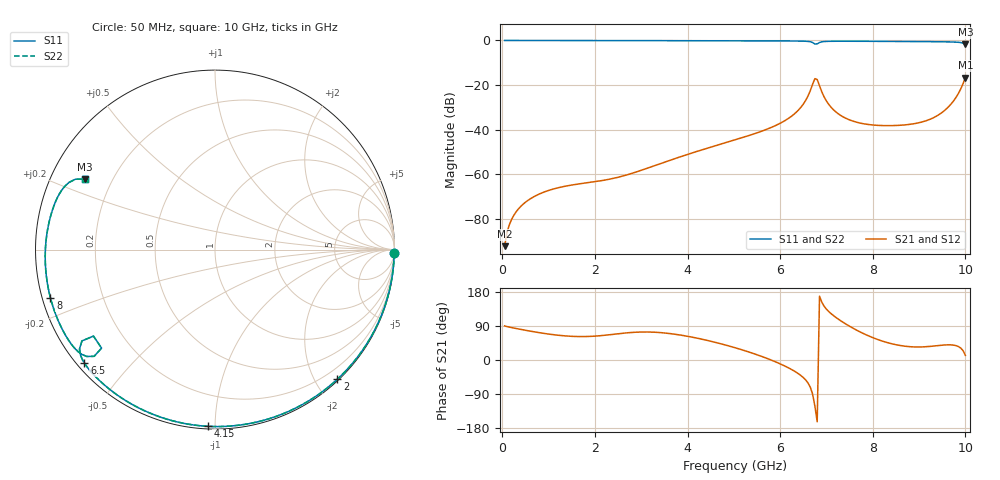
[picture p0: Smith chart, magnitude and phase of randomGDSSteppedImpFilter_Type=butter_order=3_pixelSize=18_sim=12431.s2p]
! freq	dB(S11)	phase(S11)	dB(S12)	phase(S12)
!  dB(S21)	phase(S21)	dB(S22)	phase(S22)
!S-par simulation data
#  GHz  S  DB  R 50
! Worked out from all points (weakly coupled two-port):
!   200 points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, 50 MHz to 10 GHz, reference 50 ohm
!   highest |S21| = -16.65 dB at 10 GHz (marker M1); lowest = -92.3 dB at 50 MHz (marker M2)
!   lowest |S11| = -1.7 dB at 10 GHz (marker M3), VSWR 10.38, Z = 5.12 + j12.5 ohm
!   |S11| at or under -10 dB: nowhere
!   |S22| runs from -1.7 to 0.0 dB; largest |S21 - S12| = 0
!   S11 on the Smith chart (normalised r, x): 50 MHz: 7, -97; 2 GHz: 0.02, -2.32; 4.15 GHz: 0.01, -0.96; 6.5 GHz: 0.02, -0.37; 8 GHz: 0.02, -0.14; 10 GHz: 0.10, +0.25
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0.05  -0.01 -1.2  -92.30 90.0  -92.30 90.0  -0.01 -1.2
0.2  -0.01 -4.8  -80.33 85.5  -80.33 85.5  -0.01 -4.8
0.45  -0.02 -10.7  -73.45 79.6  -73.45 79.6  -0.02 -10.7
0.8  -0.02 -19.0  -68.89 72.1  -68.89 72.1  -0.02 -19.0
1.75  -0.05 -41.1  -64.09 61.8  -64.09 61.8  -0.05 -41.0
2  -0.06 -46.7  -63.36 63.0  -63.36 63.0  -0.06 -46.7
3.4  -0.10 -77.1  -55.37 72.4  -55.37 72.4  -0.10 -77.1
4.15  -0.13 -92.4  -50.13 59.1  -50.13 59.1  -0.13 -92.4
5.05  -0.17 -110.1  -44.46 31.5  -44.46 31.5  -0.17 -110.1
6  -0.23 -128.4  -37.17 -10.1  -37.17 -10.1  -0.23 -128.3
6.5  -0.32 -139.0  -28.56 -46.3  -28.56 -46.3  -0.32 -139.0
6.7  -0.92 -145.5  -19.70 -89.5  -19.70 -89.5  -0.92 -145.5
6.75  -1.61 -144.6  -17.14 -121.6  -17.14 -121.6  -1.61 -144.6
6.8  -1.55 -139.0  -17.54 -162.9  -17.54 -162.9  -1.54 -139.0
7  -0.43 -143.3  -27.20 134.1  -27.20 134.1  -0.43 -143.3
7.3  -0.35 -150.1  -33.55 104.1  -33.55 104.1  -0.35 -150.1
8  -0.40 -163.7  -37.94 59.0  -37.94 59.0  -0.40 -163.7
8.35  -0.43 -170.3  -38.23 44.7  -38.23 44.7  -0.43 -170.3
8.95  -0.51 178.0  -37.13 34.3  -37.13 34.3  -0.51 178.0
9.4  -0.58 168.7  -33.66 38.0  -33.66 38.0  -0.58 168.7
9.75  -0.72 160.2  -26.98 39.2  -26.98 39.2  -0.72 160.2
10  -1.68 151.6  -16.65 12.2  -16.65 12.2  -1.67 151.6
